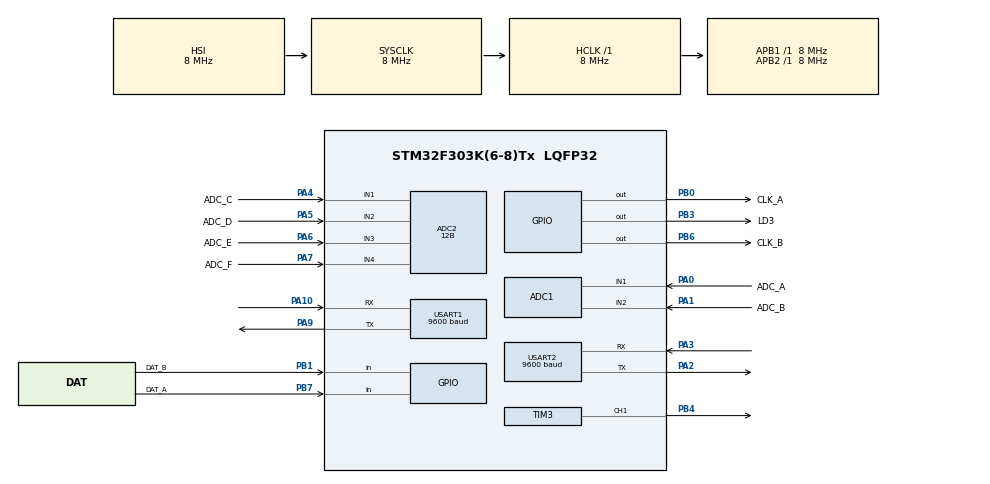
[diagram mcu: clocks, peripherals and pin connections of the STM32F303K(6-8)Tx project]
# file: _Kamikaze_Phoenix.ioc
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ADC1.Channel-0\#ChannelRegularConversion=ADC_CHANNEL_1
ADC1.NbrOfConversionFlag=1
ADC1.Offset-0\#ChannelRegularConversion=0
ADC1.OffsetNumber-0\#ChannelRegularConversion=ADC_OFFSET_NONE
ADC1.Rank-0\#ChannelRegularConversion=1
ADC1.SamplingTime-0\#ChannelRegularConversion=ADC_SAMPLETIME_1CYCLE_5
ADC1.SubFamily=STM32F303x8
ADC1.master=1
ADC2.Channel-0\#ChannelRegularConversion=ADC_CHANNEL_1
ADC2.ClockPrescaler=ADC_CLOCK_ASYNC_DIV1
ADC2.ContinuousConvMode=DISABLE
ADC2.DMAContinuousRequests=DISABLE
ADC2.DataAlign=ADC_DATAALIGN_RIGHT
ADC2.DiscontinuousConvMode=DISABLE
ADC2.EOCSelection=ADC_EOC_SINGLE_CONV
ADC2.EnableAnalogWatchDog1=false
ADC2.EnableAnalogWatchDog2=false
ADC2.EnableAnalogWatchDog3=false
ADC2.EnableInjectedConversion=ENABLE
ADC2.EnableRegularConversion=ENABLE
ADC2.ExternalTrigConv=ADC_SOFTWARE_START
ADC2.ExternalTrigConvEdge=ADC_EXTERNALTRIGCONVEDGE_NONE
ADC2.InjNumberOfConversion=0
ADC2.LowPowerAutoWait=DISABLE
ADC2.NbrOfConversion=1
ADC2.NbrOfConversionFlag=1
ADC2.Offset-0\#ChannelRegularConversion=0
ADC2.OffsetNumber-0\#ChannelRegularConversion=ADC_OFFSET_NONE
ADC2.Overrun=ADC_OVR_DATA_OVERWRITTEN
ADC2.Rank-0\#ChannelRegularConversion=1
ADC2.Resolution=ADC_RESOLUTION_12B
ADC2.SamplingTime-0\#ChannelRegularConversion=ADC_SAMPLETIME_1CYCLE_5
ADC2.ScanConvMode=ADC_SCAN_DISABLE
ADC2.SubFamily=STM32F303x8
Dma.Request0=USART1_RX
Dma.Request1=USART1_TX
Dma.Request2=USART2_RX
Dma.Request3=USART2_TX
Dma.USART1_RX.0.Direction=DMA_PERIPH_TO_MEMORY
Dma.USART1_RX.0.Instance=DMA1_Channel5
Dma.USART1_RX.0.MemDataAlignment=DMA_MDATAALIGN_BYTE
Dma.USART1_RX.0.MemInc=DMA_MINC_ENABLE
Dma.USART1_RX.0.Mode=DMA_NORMAL
Dma.USART1_RX.0.PeriphDataAlignment=DMA_PDATAALIGN_BYTE
Dma.USART1_RX.0.PeriphInc=DMA_PINC_DISABLE
Dma.USART1_RX.0.Priority=DMA_PRIORITY_MEDIUM
Dma.USART1_TX.1.Direction=DMA_MEMORY_TO_PERIPH
Dma.USART1_TX.1.Instance=DMA1_Channel4
Dma.USART1_TX.1.MemDataAlignment=DMA_MDATAALIGN_BYTE
Dma.USART1_TX.1.MemInc=DMA_MINC_ENABLE
Dma.USART1_TX.1.Mode=DMA_NORMAL
Dma.USART1_TX.1.PeriphDataAlignment=DMA_PDATAALIGN_BYTE
Dma.USART1_TX.1.PeriphInc=DMA_PINC_DISABLE
Dma.USART1_TX.1.Priority=DMA_PRIORITY_MEDIUM
Dma.USART2_RX.2.Direction=DMA_PERIPH_TO_MEMORY
Dma.USART2_RX.2.Instance=DMA1_Channel6
Dma.USART2_RX.2.MemDataAlignment=DMA_MDATAALIGN_BYTE
Dma.USART2_RX.2.MemInc=DMA_MINC_ENABLE
Dma.USART2_RX.2.Mode=DMA_NORMAL
Dma.USART2_RX.2.PeriphDataAlignment=DMA_PDATAALIGN_BYTE
Dma.USART2_RX.2.PeriphInc=DMA_PINC_DISABLE
Dma.USART2_RX.2.Priority=DMA_PRIORITY_LOW
Dma.USART2_TX.3.Direction=DMA_MEMORY_TO_PERIPH
Dma.USART2_TX.3.Instance=DMA1_Channel7
Dma.USART2_TX.3.MemDataAlignment=DMA_MDATAALIGN_BYTE
Dma.USART2_TX.3.MemInc=DMA_MINC_ENABLE
Dma.USART2_TX.3.Mode=DMA_NORMAL
Dma.USART2_TX.3.PeriphDataAlignment=DMA_PDATAALIGN_BYTE
Dma.USART2_TX.3.PeriphInc=DMA_PINC_DISABLE
Dma.USART2_TX.3.Priority=DMA_PRIORITY_LOW
Mcu.Family=STM32F3
Mcu.Name=STM32F303K(6-8)Tx
Mcu.Package=LQFP32
NVIC.ADC1_2_IRQn=true\:0\:0\:false\:true\:true\:4\:true
NVIC.DMA1_Channel4_IRQn=true\:0\:0\:false\:true\:true\:1\:false
NVIC.DMA1_Channel5_IRQn=true\:0\:0\:false\:true\:true\:2\:false
NVIC.DMA1_Channel6_IRQn=true\:0\:0\:false\:true\:true\:3\:false
NVIC.DMA1_Channel7_IRQn=true\:0\:0\:false\:true\:true\:6\:false
NVIC.PriorityGroup=NVIC_PRIORITYGROUP_4
NVIC.TIM3_IRQn=true\:0\:0\:false\:false\:true\:true
NVIC.USART1_IRQn=true\:0\:0\:false\:true\:true\:5\:true
NVIC.USART2_IRQn=true\:0\:0\:false\:false\:true\:true
PA0.GPIO_Label=ADC_A
PA0.Mode=IN1-Single-Ended
PA0.Signal=ADC1_IN1
PA1.GPIO_Label=ADC_B
PA1.Mode=IN2-Single-Ended
PA1.Signal=ADC1_IN2
PA10.Mode=Asynchronous
PA10.Signal=USART1_RX
PA2.Mode=Asynchronous
PA2.Signal=USART2_TX
PA3.Mode=Asynchronous
PA3.Signal=USART2_RX
PA4.GPIO_Label=ADC_C
PA4.Mode=IN1-Single-Ended
PA4.Signal=ADC2_IN1
PA5.GPIO_Label=ADC_D
PA5.Mode=IN2-Single-Ended
PA5.Signal=ADC2_IN2
PA6.GPIO_Label=ADC_E
PA6.Mode=IN3-Single-Ended
PA6.Signal=ADC2_IN3
PA7.GPIO_Label=ADC_F
PA7.Mode=IN4-Single-Ended
PA7.Signal=ADC2_IN4
PA9.Mode=Asynchronous
PA9.Signal=USART1_TX
PB0.GPIO_Label=CLK_A
PB0.Signal=GPIO_Output
PB1.GPIO_Label=DAT_B
PB1.Signal=GPIO_Input
PB3.GPIO_Label=LD3
PB3.Signal=GPIO_Output
PB4.Signal=S_TIM3_CH1
PB6.GPIO_FM6=SYSCFG_CFGR1_I2C_PB6_FMP
PB6.GPIO_Label=CLK_B
PB6.Signal=GPIO_Output
PB7.GPIO_Label=DAT_A
PB7.Signal=GPIO_Input
PF0\ /\ OSC_IN.Mode=HSE-External-Oscillator
PF0\ /\ OSC_IN.Signal=RCC_OSC_IN
PF1\ /\ OSC_OUT.Mode=HSE-External-Oscillator
PF1\ /\ OSC_OUT.Signal=RCC_OSC_OUT
ProjectManager.HeapSize=0x200
ProjectManager.StackSize=0x400
ProjectManager.TargetToolchain=TrueSTUDIO
RCC.AHBFreq_Value=8000000
RCC.APB1Freq_Value=8000000
RCC.APB2Freq_Value=8000000
RCC.CortexFreq_Value=8000000
RCC.HSE_VALUE=8000000
RCC.HSI_VALUE=8000000
RCC.PLLMUL=RCC_PLL_MUL4
RCC.SYSCLKFreq_VALUE=8000000
SH.S_TIM3_CH1.0=TIM3_CH1,PWM Generation1 CH1
TIM3.Channel-PWM\ Generation1\ CH1=TIM_CHANNEL_1
TIM3.Period=100
TIM3.Prescaler=72
USART1.BaudRate=9600
USART1.VirtualMode-Asynchronous=VM_ASYNC
USART1.WordLength=WORDLENGTH_8B
USART2.BaudRate=9600
USART2.VirtualMode-Asynchronous=VM_ASYNC
USART2.WordLength=WORDLENGTH_8B
VP_TIM3_VS_ClockSourceINT.Mode=Internal
board=_Kamikaze_Phoenix

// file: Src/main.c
/**
 ******************************************************************************
 * @file           : main.c
 * @brief          : Main program body
 ******************************************************************************
 ** This notice applies to any and all portions of this file
 * that are not between comment pairs USER CODE BEGIN and
 * USER CODE END. Other portions of this file, whether
 * inserted by the user or by software development tools
 * are owned by their respective copyright owners.
 *
 * COPYRIGHT(c) 2018 STMicroelectronics
 *
 * Redistribution and use in source and binary forms, with or without modification,
 * are permitted provided that the following conditions are met:
 *   1. Redistributions of source code must retain the above copyright notice,
 *      this list of conditions and the following disclaimer.
 *   2. Redistributions in binary form must reproduce the above copyright notice,
 *      this list of conditions and the following disclaimer in the documentation
 *      and/or other materials provided with the distribution.
 *   3. Neither the name of STMicroelectronics nor the names of its contributors
 *      may be used to endorse or promote products derived from this software
 *      without specific prior written permission.
 *
 * THIS SOFTWARE IS PROVIDED BY THE COPYRIGHT HOLDERS AND CONTRIBUTORS "AS IS"
 * AND ANY EXPRESS OR IMPLIED WARRANTIES, INCLUDING, BUT NOT LIMITED TO, THE
 * IMPLIED WARRANTIES OF MERCHANTABILITY AND FITNESS FOR A PARTICULAR PURPOSE ARE
 * DISCLAIMED. IN NO EVENT SHALL THE COPYRIGHT HOLDER OR CONTRIBUTORS BE LIABLE
 * FOR ANY DIRECT, INDIRECT, INCIDENTAL, SPECIAL, EXEMPLARY, OR CONSEQUENTIAL
 * DAMAGES (INCLUDING, BUT NOT LIMITED TO, PROCUREMENT OF SUBSTITUTE GOODS OR
 * SERVICES; LOSS OF USE, DATA, OR PROFITS; OR BUSINESS INTERRUPTION) HOWEVER
 * CAUSED AND ON ANY THEORY OF LIABILITY, WHETHER IN CONTRACT, STRICT LIABILITY,
 * OR TORT (INCLUDING NEGLIGENCE OR OTHERWISE) ARISING IN ANY WAY OUT OF THE USE
 * OF THIS SOFTWARE, EVEN IF ADVISED OF THE POSSIBILITY OF SUCH DAMAGE.
 *
 ******************************************************************************
 */
#include "main.h"
#include "stm32f3xx_hal.h"

ADC_HandleTypeDef hadc1;
ADC_HandleTypeDef hadc2;

TIM_HandleTypeDef htim3;

UART_HandleTypeDef huart1;
UART_HandleTypeDef huart2;
DMA_HandleTypeDef hdma_usart1_rx;
DMA_HandleTypeDef hdma_usart1_tx;
DMA_HandleTypeDef hdma_usart2_rx;
DMA_HandleTypeDef hdma_usart2_tx;

/* USER CODE BEGIN PV */
/* Private variables ---------------------------------------------------------*/

struct MSG;
struct CBUFF;
struct PARAMETERS;

CBUFF* cbuff = 0;
PARAMETERS* par = 0;

#define PIN_HI			1
#define PIN_LO			0
#define LSB				0
#define MSB				1
#define VERBOSE	TRUE

#define  PWM_PERIOD       (uint32_t)(40000 - 1)  /* Period Value  */

#define DAT_A_READ 		HAL_GPIO_ReadPin(DAT_A_GPIO_Port, DAT_A_Pin)
#define DAT_B_READ 		HAL_GPIO_ReadPin(DAT_B_GPIO_Port, DAT_B_Pin)
#define CLK_A_SET		HAL_GPIO_WritePin(CLK_A_GPIO_Port, CLK_A_Pin, GPIO_PIN_SET)
#define CLK_A_RESET		HAL_GPIO_WritePin(CLK_A_GPIO_Port, CLK_A_Pin, GPIO_PIN_RESET)
#define CLK_B_SET		HAL_GPIO_WritePin(CLK_B_GPIO_Port, CLK_B_Pin, GPIO_PIN_SET)
#define CLK_B_RESET		HAL_GPIO_WritePin(CLK_B_GPIO_Port, CLK_B_Pin, GPIO_PIN_RESET)
#define LED3_ON			HAL_GPIO_WritePin(LD3_GPIO_Port, LD3_Pin, GPIO_PIN_SET)
#define LED3_OFF		HAL_GPIO_WritePin(LD3_GPIO_Port, LD3_Pin, GPIO_PIN_RESET)
#define SERVO_HI		HAL_GPIO_WritePin(Servo_GPIO_Port, Servo_Pin, GPIO_PIN_SET)
#define SERVO_LO		HAL_GPIO_WritePin(Servo_GPIO_Port, Servo_Pin, GPIO_PIN_RESET)

uint8_t buffer[B_SIZE];
uint8_t empty_buffer[B_SIZE];

uint8_t RX_B1[B_SIZE];
uint8_t RX_B2[B_SIZE];
uint8_t TX_B1[B_SIZE];
uint8_t TX_B2[B_SIZE];

char TX_T[B_SIZE];
char TX_A[B_SIZE];

uint8_t RX_buffer1[B_SIZE];
uint8_t RX_buffer2[B_SIZE];
uint8_t TX_buffer1[B_SIZE];
uint8_t TX_buffer2[B_SIZE];
uint8_t ADC_buffer[B_SIZE];
uint16_t len = sizeof(buffer), i, j, hmmmm;
int trans_delay = 75;
int ticker = 0;

unsigned long Count;

#define POT_MODE			0
#define CLOCK_WISE			0
#define COUNTER_CLOCK_WISE	1
#define PIN_LO			0
volatile int DC = 50;
volatile int DIR = CLOCK_WISE;
volatile int SERVO_PULSE_WIDTH = 1;
volatile uint16_t HILO_COUNT = 0;
volatile uint16_t HI_PERIOD = 1;
volatile uint16_t LO_PERIOD = 1;
volatile uint16_t HI_LO = PIN_HI;
#define ms_SCALER			44

// EPOCHS
int epoch_LED = 0;
int epoch_TX = 0;
int epoch_ERROR = 0;
int epoch_INIT = 0;

volatile uint32_t a;
volatile uint32_t ADC_A_Value;
volatile uint32_t ADC_B_Value;
volatile uint32_t ADC_C_Value;
volatile uint32_t ADC_D_Value;
volatile uint32_t ADC_E_Value;
volatile uint32_t ADC_F_Value;

ADC_ChannelConfTypeDef sConfig_A;
ADC_ChannelConfTypeDef sConfig_B;
ADC_ChannelConfTypeDef sConfig_C;
ADC_ChannelConfTypeDef sConfig_D;
ADC_ChannelConfTypeDef sConfig_E;
ADC_ChannelConfTypeDef sConfig_F;

char* errorMsg = 0;

/* USER CODE END PV */

void SystemClock_Config(void);
static void MX_GPIO_Init(void);
static void MX_DMA_Init(void);
static void MX_USART1_UART_Init(void);
static void MX_USART2_UART_Init(void);
static void MX_ADC2_Init(void);
static void MX_ADC1_Init(void);
static void MX_TIM3_Init(void);
static void MX_NVIC_Init(void);

void HAL_TIM_MspPostInit(TIM_HandleTypeDef *htim);

/* USER CODE BEGIN PFP */
/* Private function prototypes -----------------------------------------------*/
void Update_ADC_Values(void);
void read_HX711(void);
void HAL_Delay_Microseconds(__IO uint32_t);
int isTransmitting(UART_HandleTypeDef *, UART_HandleTypeDef *);
int strip_str(uint8_t[], uint8_t[]);
int channelBusy(UART_HandleTypeDef *);
void Update_PWM(uint16_t);
void set_pulse_width(void);
int get_error(void);

/* USER CODE END PFP */

int main(void) {
	/* USER CODE BEGIN 1 */
	memset(RX_B1, 0, len);
	memset(RX_B2, 0, len);
	memset(TX_B1, 0, len);
	memset(TX_B2, 0, len);
	/* USER CODE END 1 */

	/* MCU Configuration----------------------------------------------------------*/

	/* Reset of all peripherals, Initializes the Flash interface and the Systick. */
	HAL_Init();

	/* Configure the system clock */
	SystemClock_Config();

	/* Initialize all configured peripherals */
	MX_GPIO_Init();
	MX_DMA_Init();
	MX_USART1_UART_Init();
	MX_USART2_UART_Init();
	MX_ADC2_Init();
	MX_ADC1_Init();
	MX_TIM3_Init();

	/* Initialize interrupts */
	MX_NVIC_Init();
	/* USER CODE BEGIN 2 */

	memset(empty_buffer, 0, len);

	if (HAL_ADC_ConfigChannel(&hadc2, &sConfig_C) != HAL_OK) {
		_Error_Handler(__FILE__, __LINE__);
	}

	cbuff = circ_buff_init();

	/* USER CODE END 2 */

	/* Infinite loop */
	/* USER CODE BEGIN WHILE */
	/* USER CODE BEGIN WHILE */

	MSG* msg = 0;
	msg = (MSG*) malloc(sizeof(MSG));
	msg->type = 0;
	msg->ID = 0;
	msg->sign = 0;
	msg->value = 0;
	msg->complete = 0;

	MSG* msgT = 0;
	msgT = (MSG*) malloc(sizeof(MSG));
	msgT->type = 0;
	msgT->ID = 0;
	msgT->sign = 0;
	msgT->value = 0;
	msgT->complete = 0;

	MSG* msgA = 0;
	msgA = (MSG*) malloc(sizeof(MSG));
	msgA->type = 0;
	msgA->ID = 0;
	msgA->sign = 0;
	msgA->value = 0;
	msgA->complete = 0;

	memset(TX_buffer2, '&', B_SIZE);
	TX_buffer2[B_SIZE - 2] = '\n';
	TX_buffer2[B_SIZE - 1] = '\r';

	memset(TX_B1, 0, B_SIZE);
	sprintf((char*) TX_B1,
			"\n\r\n\r/* BOOT COMPLETE -> INITIALISING [%d] */\n\r\n\r",
			getEGO());
	while (isTransmitting(&huart1, &huart2))
		;
	HAL_UART_Transmit_DMA(&huart1, TX_B1, B_SIZE);
	HAL_UART_Transmit_DMA(&huart2, TX_B1, B_SIZE);

	msgERROR_init();
	epoch_INIT = HAL_GetTick();

	int adc_compare = 1;

	int DEMAND, delta;
	par = parameters_init();
	int k = 25;
	volatile int angle = 0;

	if (HAL_TIM_PWM_Start(&htim3, TIM_CHANNEL_1) != HAL_OK) {
		/* PWM Generation Error */
		Error_Handler();
	}

	DC = 0;

	while (1) {

		/* USER CODE END WHILE */

		/* USER CODE BEGIN 3 */
		/* Update PWM width */
		Update_ADC_Values();
		delta = (-ADC_D_Value + ADC_C_Value);
		if (delta > 0) {
			angle = 5;
		} else {
			angle = -5;
		}
		angle = delta / 10;
		set_p(par, delta);
		update_control(par);
		delta = get_T_target(par);
		DC = DC + delta;
		set_pulse_width();

		//DEMAND = (DC > 0) ? (DC * 100 / 4096) : (-DC * 100 / 4096);

		/* Toggle LED */
		if (HAL_GetTick() > (epoch_LED + D_LED)) {

			HAL_GPIO_TogglePin(LD3_GPIO_Port, LD3_Pin);
			epoch_LED = HAL_GetTick();

			while (isTransmitting(&huart1, &huart2))
				;
			memset(TX_B1, 0, B_SIZE);
			sprintf(TX_B1,
					"C|%lu|\tD|%lu|\tdir|%lu|\tHI|%lu|\tPW|%lu|\tDC|%d|\tE|%d|\tDEMAND|%d|\n\r",
					(unsigned long) ADC_C_Value, (unsigned long) ADC_D_Value,
					DIR, HI_PERIOD, (HI_PERIOD / 2), DC, get_error(), delta);
			HAL_UART_Transmit_DMA(&huart1, TX_B1, B_SIZE);
			HAL_UART_Transmit_DMA(&huart2, TX_B1, B_SIZE);

		}

	}
	free(msg);
	free(msgT);
	free(msgA);
	free(par);
	free(cbuff);
	/* USER CODE END 3 */

}

void SystemClock_Config(void) {

	RCC_OscInitTypeDef RCC_OscInitStruct;
	RCC_ClkInitTypeDef RCC_ClkInitStruct;
	RCC_PeriphCLKInitTypeDef PeriphClkInit;

	/**Initializes the CPU, AHB and APB busses clocks
	 */
	RCC_OscInitStruct.OscillatorType = RCC_OSCILLATORTYPE_HSI;
	RCC_OscInitStruct.HSIState = RCC_HSI_ON;
	RCC_OscInitStruct.HSICalibrationValue = 16;
	RCC_OscInitStruct.PLL.PLLState = RCC_PLL_ON;
	RCC_OscInitStruct.PLL.PLLSource = RCC_PLLSOURCE_HSI;
	RCC_OscInitStruct.PLL.PLLMUL = RCC_PLL_MUL4;
	if (HAL_RCC_OscConfig(&RCC_OscInitStruct) != HAL_OK) {
		_Error_Handler(__FILE__, __LINE__);
	}

	/**Initializes the CPU, AHB and APB busses clocks
	 */
	RCC_ClkInitStruct.ClockType = RCC_CLOCKTYPE_HCLK | RCC_CLOCKTYPE_SYSCLK
			| RCC_CLOCKTYPE_PCLK1 | RCC_CLOCKTYPE_PCLK2;
	RCC_ClkInitStruct.SYSCLKSource = RCC_SYSCLKSOURCE_HSI;
	RCC_ClkInitStruct.AHBCLKDivider = RCC_SYSCLK_DIV1;
	RCC_ClkInitStruct.APB1CLKDivider = RCC_HCLK_DIV1;
	RCC_ClkInitStruct.APB2CLKDivider = RCC_HCLK_DIV1;

	if (HAL_RCC_ClockConfig(&RCC_ClkInitStruct, FLASH_LATENCY_0) != HAL_OK) {
		_Error_Handler(__FILE__, __LINE__);
	}

	PeriphClkInit.PeriphClockSelection = RCC_PERIPHCLK_USART1
			| RCC_PERIPHCLK_ADC12;
	PeriphClkInit.Usart1ClockSelection = RCC_USART1CLKSOURCE_PCLK1;
	PeriphClkInit.Adc12ClockSelection = RCC_ADC12PLLCLK_DIV1;
	if (HAL_RCCEx_PeriphCLKConfig(&PeriphClkInit) != HAL_OK) {
		_Error_Handler(__FILE__, __LINE__);
	}

	/**Configure the Systick interrupt time
	 */
	HAL_SYSTICK_Config(HAL_RCC_GetHCLKFreq() / 1000);

	/**Configure the Systick
	 */
	HAL_SYSTICK_CLKSourceConfig(SYSTICK_CLKSOURCE_HCLK);

	/* SysTick_IRQn interrupt configuration */
	HAL_NVIC_SetPriority(SysTick_IRQn, 0, 0);
}

/**
 * @brief NVIC Configuration.
 * @retval None
 */
static void MX_NVIC_Init(void) {
	/* DMA1_Channel4_IRQn interrupt configuration */
	HAL_NVIC_SetPriority(DMA1_Channel4_IRQn, 0, 0);
	HAL_NVIC_EnableIRQ(DMA1_Channel4_IRQn);
	/* DMA1_Channel5_IRQn interrupt configuration */
	HAL_NVIC_SetPriority(DMA1_Channel5_IRQn, 0, 0);
	HAL_NVIC_EnableIRQ(DMA1_Channel5_IRQn);
	/* DMA1_Channel6_IRQn interrupt configuration */
	HAL_NVIC_SetPriority(DMA1_Channel6_IRQn, 0, 0);
	HAL_NVIC_EnableIRQ(DMA1_Channel6_IRQn);
	/* ADC1_2_IRQn interrupt configuration */
	HAL_NVIC_SetPriority(ADC1_2_IRQn, 0, 0);
	HAL_NVIC_EnableIRQ(ADC1_2_IRQn);
	/* USART1_IRQn interrupt configuration */
	HAL_NVIC_SetPriority(USART1_IRQn, 0, 0);
	HAL_NVIC_EnableIRQ(USART1_IRQn);
	/* DMA1_Channel7_IRQn interrupt configuration */
	HAL_NVIC_SetPriority(DMA1_Channel7_IRQn, 0, 0);
	HAL_NVIC_EnableIRQ(DMA1_Channel7_IRQn);
}

/* ADC1 init function */
static void MX_ADC1_Init(void) {

	ADC_MultiModeTypeDef multimode;
	ADC_ChannelConfTypeDef sConfig;

	/**Common config
	 */
	hadc1.Instance = ADC1;
	hadc1.Init.ClockPrescaler = ADC_CLOCK_ASYNC_DIV1;
	hadc1.Init.Resolution = ADC_RESOLUTION_12B;
	hadc1.Init.ScanConvMode = ADC_SCAN_DISABLE;
	hadc1.Init.ContinuousConvMode = DISABLE;
	hadc1.Init.DiscontinuousConvMode = DISABLE;
	hadc1.Init.ExternalTrigConvEdge = ADC_EXTERNALTRIGCONVEDGE_NONE;
	hadc1.Init.ExternalTrigConv = ADC_SOFTWARE_START;
	hadc1.Init.DataAlign = ADC_DATAALIGN_RIGHT;
	hadc1.Init.NbrOfConversion = 1;
	hadc1.Init.DMAContinuousRequests = DISABLE;
	hadc1.Init.EOCSelection = ADC_EOC_SINGLE_CONV;
	hadc1.Init.LowPowerAutoWait = DISABLE;
	hadc1.Init.Overrun = ADC_OVR_DATA_OVERWRITTEN;
	if (HAL_ADC_Init(&hadc1) != HAL_OK) {
		_Error_Handler(__FILE__, __LINE__);
	}

	/**Configure the ADC multi-mode
	 */
	multimode.Mode = ADC_MODE_INDEPENDENT;
	if (HAL_ADCEx_MultiModeConfigChannel(&hadc1, &multimode) != HAL_OK) {
		_Error_Handler(__FILE__, __LINE__);
	}

	/**Configure Regular Channel
	 */
	sConfig.Channel = ADC_CHANNEL_1;
	sConfig.Rank = ADC_REGULAR_RANK_1;
	sConfig.SingleDiff = ADC_SINGLE_ENDED;
	sConfig.SamplingTime = ADC_SAMPLETIME_1CYCLE_5;
	sConfig.OffsetNumber = ADC_OFFSET_NONE;
	sConfig.Offset = 0;
	if (HAL_ADC_ConfigChannel(&hadc1, &sConfig) != HAL_OK) {
		_Error_Handler(__FILE__, __LINE__);
	}

}

/* ADC2 init function */
static void MX_ADC2_Init(void) {

	ADC_ChannelConfTypeDef sConfig;

	/**Common config
	 */
	hadc2.Instance = ADC2;
	hadc2.Init.ClockPrescaler = ADC_CLOCK_ASYNC_DIV1;
	hadc2.Init.Resolution = ADC_RESOLUTION_12B;
	hadc2.Init.ScanConvMode = ADC_SCAN_DISABLE;
	hadc2.Init.ContinuousConvMode = DISABLE;
	hadc2.Init.DiscontinuousConvMode = DISABLE;
	hadc2.Init.ExternalTrigConvEdge = ADC_EXTERNALTRIGCONVEDGE_NONE;
	hadc2.Init.ExternalTrigConv = ADC_SOFTWARE_START;
	hadc2.Init.DataAlign = ADC_DATAALIGN_RIGHT;
	hadc2.Init.NbrOfConversion = 1;
	hadc2.Init.DMAContinuousRequests = DISABLE;
	hadc2.Init.EOCSelection = ADC_EOC_SINGLE_CONV;
	hadc2.Init.LowPowerAutoWait = DISABLE;
	hadc2.Init.Overrun = ADC_OVR_DATA_OVERWRITTEN;
	if (HAL_ADC_Init(&hadc2) != HAL_OK) {
		_Error_Handler(__FILE__, __LINE__);
	}

	/**Configure Regular Channel
	 */
	sConfig_C.Channel = ADC_CHANNEL_1;
	sConfig_C.Rank = ADC_REGULAR_RANK_1;
	sConfig_C.SingleDiff = ADC_SINGLE_ENDED;
	sConfig_C.SamplingTime = ADC_SAMPLETIME_1CYCLE_5;
	sConfig_C.OffsetNumber = ADC_OFFSET_NONE;
	sConfig_C.Offset = 0;
	if (HAL_ADC_ConfigChannel(&hadc2, &sConfig_C) != HAL_OK) {
		_Error_Handler(__FILE__, __LINE__);
	}

	sConfig_D.Channel = ADC_CHANNEL_2;
	sConfig_D.Rank = ADC_REGULAR_RANK_1;
	sConfig_D.SingleDiff = ADC_SINGLE_ENDED;
	sConfig_D.SamplingTime = ADC_SAMPLETIME_1CYCLE_5;
	sConfig_D.OffsetNumber = ADC_OFFSET_NONE;
	sConfig_D.Offset = 0;
	if (HAL_ADC_ConfigChannel(&hadc2, &sConfig_D) != HAL_OK) {
		_Error_Handler(__FILE__, __LINE__);
	}

	sConfig_E.Channel = ADC_CHANNEL_3;
	sConfig_E.Rank = ADC_REGULAR_RANK_1;
	sConfig_E.SingleDiff = ADC_SINGLE_ENDED;
	sConfig_E.SamplingTime = ADC_SAMPLETIME_1CYCLE_5;
	sConfig_E.OffsetNumber = ADC_OFFSET_NONE;
	sConfig_E.Offset = 0;
	if (HAL_ADC_ConfigChannel(&hadc2, &sConfig_E) != HAL_OK) {
		_Error_Handler(__FILE__, __LINE__);
	}

	sConfig_F.Channel = ADC_CHANNEL_4;
	sConfig_F.Rank = ADC_REGULAR_RANK_1;
	sConfig_F.SingleDiff = ADC_SINGLE_ENDED;
	sConfig_F.SamplingTime = ADC_SAMPLETIME_1CYCLE_5;
	sConfig_F.OffsetNumber = ADC_OFFSET_NONE;
	sConfig_F.Offset = 0;
	if (HAL_ADC_ConfigChannel(&hadc2, &sConfig_F) != HAL_OK) {
		_Error_Handler(__FILE__, __LINE__);
	}

}

/* TIM3 init function */
static void MX_TIM3_Init(void) {
	/* Counter Prescaler value */
	uint32_t uhPrescalerValue = 0;

	/* Compute the prescaler value to have TIM3 counter clock equal to 1000000 Hz */
	uhPrescalerValue = (uint32_t) ((SystemCoreClock / 2) / 1000000) - 1;

	TIM_ClockConfigTypeDef sClockSourceConfig;
	TIM_MasterConfigTypeDef sMasterConfig;
	TIM_OC_InitTypeDef sConfigOC;

	htim3.Instance = TIM3;
	htim3.Init.Prescaler = uhPrescalerValue;
	printf("Prescaler Value: %lu\r\n", uhPrescalerValue);
	htim3.Init.Period = PWM_PERIOD;
	printf("Period Value: %lu\r\n", PWM_PERIOD);
	htim3.Init.ClockDivision = 0;
	htim3.Init.CounterMode = TIM_COUNTERMODE_UP;
	htim3.Init.RepetitionCounter = 0;
	htim3.Init.AutoReloadPreload = TIM_AUTORELOAD_PRELOAD_DISABLE;
	if (HAL_TIM_Base_Init(&htim3) != HAL_OK) {
		printf("HAL_TIM_Base_Init failed.");
		_Error_Handler(__FILE__, __LINE__);
	}

	sClockSourceConfig.ClockSource = TIM_CLOCKSOURCE_INTERNAL;
	if (HAL_TIM_ConfigClockSource(&htim3, &sClockSourceConfig) != HAL_OK) {
		_Error_Handler(__FILE__, __LINE__);
	}

	if (HAL_TIM_PWM_Init(&htim3) != HAL_OK) {
		_Error_Handler(__FILE__, __LINE__);
	}

	sMasterConfig.MasterOutputTrigger = TIM_TRGO_RESET;
	sMasterConfig.MasterSlaveMode = TIM_MASTERSLAVEMODE_DISABLE;
	if (HAL_TIMEx_MasterConfigSynchronization(&htim3, &sMasterConfig)
			!= HAL_OK) {
		_Error_Handler(__FILE__, __LINE__);
	}

	// sConfigOC.Pulse = 0;
	sConfigOC.OCMode = TIM_OCMODE_PWM1;
	sConfigOC.OCPolarity = TIM_OCPOLARITY_HIGH;
	sConfigOC.OCFastMode = TIM_OCFAST_DISABLE;
	sConfigOC.OCNPolarity = TIM_OCNPOLARITY_HIGH;
	sConfigOC.OCNIdleState = TIM_OCNIDLESTATE_RESET;

	sConfigOC.Pulse = (uint32_t) (PWM_PERIOD / 2);
	if (HAL_TIM_PWM_ConfigChannel(&htim3, &sConfigOC, TIM_CHANNEL_1)
			!= HAL_OK) {
		/* Configuration Error */
		Error_Handler();
	}

	HAL_TIM_MspPostInit(&htim3);

}

/* USART1 init function */
static void MX_USART1_UART_Init(void) {

	huart1.Instance = USART1;
	huart1.Init.BaudRate = 9600;
	huart1.Init.WordLength = UART_WORDLENGTH_8B;
	huart1.Init.StopBits = UART_STOPBITS_1;
	huart1.Init.Parity = UART_PARITY_NONE;
	huart1.Init.Mode = UART_MODE_TX_RX;
	huart1.Init.HwFlowCtl = UART_HWCONTROL_NONE;
	huart1.Init.OverSampling = UART_OVERSAMPLING_16;
	huart1.Init.OneBitSampling = UART_ONE_BIT_SAMPLE_DISABLE;
	huart1.AdvancedInit.AdvFeatureInit = UART_ADVFEATURE_NO_INIT;
	if (HAL_UART_Init(&huart1) != HAL_OK) {
		_Error_Handler(__FILE__, __LINE__);
	}

}

/* USART2 init function */
static void MX_USART2_UART_Init(void) {

	huart2.Instance = USART2;
	huart2.Init.BaudRate = 9600;
	huart2.Init.WordLength = UART_WORDLENGTH_8B;
	huart2.Init.StopBits = UART_STOPBITS_1;
	huart2.Init.Parity = UART_PARITY_NONE;
	huart2.Init.Mode = UART_MODE_TX_RX;
	huart2.Init.HwFlowCtl = UART_HWCONTROL_NONE;
	huart2.Init.OverSampling = UART_OVERSAMPLING_16;
	huart2.Init.OneBitSampling = UART_ONE_BIT_SAMPLE_DISABLE;
	huart2.AdvancedInit.AdvFeatureInit = UART_ADVFEATURE_NO_INIT;
	if (HAL_UART_Init(&huart2) != HAL_OK) {
		_Error_Handler(__FILE__, __LINE__);
	}

}

static void MX_DMA_Init(void) {
	/* DMA controller clock enable */
	__HAL_RCC_DMA1_CLK_ENABLE()
	;

}

/** Configure pins as
 * Analog
 * Input
 * Output
 * EVENT_OUT
 * EXTI
 */
static void MX_GPIO_Init(void) {

	GPIO_InitTypeDef GPIO_InitStruct;

	/* GPIO Ports Clock Enable */
	__HAL_RCC_GPIOF_CLK_ENABLE()
	;
	__HAL_RCC_GPIOA_CLK_ENABLE()
	;
	__HAL_RCC_GPIOB_CLK_ENABLE()
	;

	/*Configure GPIO pin Output Level */
	HAL_GPIO_WritePin(GPIOB, CLK_A_Pin | LD3_Pin | CLK_B_Pin, GPIO_PIN_RESET);

	/*Configure GPIO pins : CLK_A_Pin LD3_Pin CLK_B_Pin */
	GPIO_InitStruct.Pin = CLK_A_Pin | LD3_Pin | CLK_B_Pin;
	GPIO_InitStruct.Mode = GPIO_MODE_OUTPUT_PP;
	GPIO_InitStruct.Pull = GPIO_NOPULL;
	GPIO_InitStruct.Speed = GPIO_SPEED_FREQ_LOW;
	HAL_GPIO_Init(GPIOB, &GPIO_InitStruct);

	/*Configure GPIO pins : DAT_B_Pin DAT_A_Pin */
	GPIO_InitStruct.Pin = DAT_B_Pin | DAT_A_Pin;
	GPIO_InitStruct.Mode = GPIO_MODE_INPUT;
	GPIO_InitStruct.Pull = GPIO_NOPULL;
	HAL_GPIO_Init(GPIOB, &GPIO_InitStruct);

	/**/
	HAL_I2CEx_EnableFastModePlus(SYSCFG_CFGR1_I2C_PB6_FMP);

}

/* USER CODE BEGIN 4 */

void Update_ADC_Values(void) {
	int x = 2;
	/* Read ADC_C
	 * ADC C = PA4 = A3 = ADC2 Channel 1 */
	if (HAL_ADC_ConfigChannel(&hadc2, &sConfig_C) != HAL_OK) {
		Error_Handler();
	}
	if (HAL_ADC_Start(&hadc2) != HAL_OK) {
		Error_Handler();
	}
	if (HAL_ADC_PollForConversion(&hadc2, 1) == HAL_OK) {
		ADC_C_Value = HAL_ADC_GetValue(&hadc2);
	}
	if (HAL_ADC_Stop(&hadc2) != HAL_OK) {
		Error_Handler();
	}

	HAL_Delay(x);
	/* Read ADC_D
	 * ADC D = PA5 = A4 = ADC2 Channel 2 */
	if (HAL_ADC_ConfigChannel(&hadc2, &sConfig_D) != HAL_OK) {
		Error_Handler();
	}
	if (HAL_ADC_Start(&hadc2) != HAL_OK) {
		Error_Handler();
	}
	if (HAL_ADC_PollForConversion(&hadc2, 1) == HAL_OK) {
		ADC_D_Value = HAL_ADC_GetValue(&hadc2);
	}
	if (HAL_ADC_Stop(&hadc2) != HAL_OK) {
		Error_Handler();
	}
	HAL_Delay(x);

	/* Read ADC_E
	 * ADC E = PA6 = A5 = ADC2 Channel 3 */
	if (HAL_ADC_ConfigChannel(&hadc2, &sConfig_E) != HAL_OK) {
		Error_Handler();
	}
	if (HAL_ADC_Start(&hadc2) != HAL_OK) {
		Error_Handler();
	}
	if (HAL_ADC_PollForConversion(&hadc2, 1) == HAL_OK) {
		ADC_E_Value = HAL_ADC_GetValue(&hadc2);
	}
	if (HAL_ADC_Stop(&hadc2) != HAL_OK) {
		Error_Handler();
	}
	HAL_Delay(x);

	/* Read ADC_F
	 * ADC F = PA7 = A6 = ADC2 Channel 4 */
	if (HAL_ADC_ConfigChannel(&hadc2, &sConfig_F) != HAL_OK) {
		Error_Handler();
	}
	if (HAL_ADC_Start(&hadc2) != HAL_OK) {
		Error_Handler();
	}
	if (HAL_ADC_PollForConversion(&hadc2, 1) == HAL_OK) {
		ADC_F_Value = HAL_ADC_GetValue(&hadc2);
	}
	if (HAL_ADC_Stop(&hadc2) != HAL_OK) {
		Error_Handler();
	}
	HAL_Delay(x);

	return;
}

int get_error(void) {
	return (2048 + ((ADC_C_Value - ADC_D_Value) / 2));
}

int emptyRX(uint8_t RX_buffer[]) {
	int i = 0;
	for (i = 0; i < (B_SIZE - 2); i++) {
		if (RX_buffer[i] != 0) {
			return 1;
		}
	}
	return 0;

}

int strip_str(uint8_t RX_buffer[], uint8_t TX_buffer[]) {
	int i = 0;
	int index = 0;
	for (i = 0; i < (B_SIZE); i++) {
		if (RX_buffer[i] != 0) {
			TX_buffer[index] = RX_buffer[i];
			index++;
		}
	}
	return index;
}

void set_pulse_width(void) {
	DC = (DC > 4096) ? 4096 : DC;
	DC = (DC < 0) ? 0 : DC;

	int DutyCycle = (DC < 0) ? -DC : DC; // ensure always positive
	DutyCycle = 4096 - DutyCycle;
	int max = 2500, min = 700;

	//max = 1500 + 400;
	//min = 1500 - 400;
	int servoMotor = 1, DCMotor;
	DCMotor = (servoMotor + 1) % 2;

	if (DCMotor) {
		if (DC < 2048) {
			DC = DC * 2;
			DC = 4096 - DC;
		} else {
			DC = DC * 2;
			DC = DC - 4096;
		}

		HI_PERIOD = 4.8828 * DC;
		HI_PERIOD = 2 * HI_PERIOD;

		DIR = (DC > 2048) ? CLOCK_WISE : COUNTER_CLOCK_WISE;
		if (DIR == COUNTER_CLOCK_WISE) {
			CLK_A_RESET;
			CLK_B_SET;
		} else {

			CLK_A_SET;
			CLK_B_RESET;
		}
	}

	if (servoMotor) {
		HI_PERIOD = (((max - min) * DutyCycle / 4096.0)) + min;
		HI_PERIOD = 2 * HI_PERIOD;

	}

	int zero = 0;

	if (zero) {
		HI_PERIOD = 2000 * (2.3);
	}

	__HAL_TIM_SET_COMPARE(&htim3, TIM_CHANNEL_1, HI_PERIOD);
}

int isTransmitting(UART_HandleTypeDef *huart1, UART_HandleTypeDef *huart2) {
	return ((huart1->gState != HAL_UART_STATE_READY)
			|| (huart2->gState != HAL_UART_STATE_READY)) ? 1 : 0;
}

void read_HX711(void) {
	/* Adapted from Arduino Script "ShiftIn()" */
// Count should always be 24
// order is MSB for HX711
	Count = 0;
	LED3_ON;
	while (DAT_A_READ) {
		;
	}

	for (uint8_t i = 0; i < 24; i++) {
		CLK_A_SET;
		Count = Count << 1;
		DAT_A_READ ? Count++ : 0; // if High
		CLK_A_RESET;
	}

	for (i = 0; i < 3; i++) {
		CLK_A_SET;
		CLK_A_RESET;
	}

	ADC_A_Value = Count ^ 0x800000;
	CLK_A_RESET;
	LED3_OFF;
	return;
}

void transmit(int channel, char* buffer) {
	UART_HandleTypeDef c;

	if (channel == 1) {
		c = huart1;
	} else {
		c = huart2;
	}
	while (isTransmitting(&huart1, &huart2))
		;
	HAL_UART_Transmit_DMA(&c, (uint8_t*) buffer, len);

	while (isTransmitting(&huart1, &huart2))
		;
	return;
}

void msgERROR_init(void) {
	errorMsg = (char*) malloc(sizeof(char) * errorMsgSize);
	return;
}

/**
 * @brief  Send out an error message if an incoming message is incorrect
 */
void msgERROR(int e, uint8_t c) {
	memset(errorMsg, 0, errorMsgSize);

	switch (e) {
	case BAD_TYPE:
		sprintf(errorMsg, "\n\rBAD_TYPE|%c|%d|\n\r", c, c);
		break;
	case BAD_ID:
		sprintf(errorMsg, "\n\rBAD_ID|%c|%d|\n\r", c, c);
		break;
	case BAD_SIGN:
		sprintf(errorMsg, "\n\rBAD_SIGN|%c|%d|\n\r", c, c);
		break;
	case BAD_LHS:
		sprintf(errorMsg, "\n\rBAD_LHS|%c|%d|\n\r", c, c);
		break;
	case BAD_DOT:
		sprintf(errorMsg, "\n\rBAD_DOT|%c|%d|\n\r", c, c);
		break;
	case BAD_RHS:
		sprintf(errorMsg, "\n\rBAD_RHS|%c|%d|\n\r", c, c);
		break;
	case BAD_COLON:
		sprintf(errorMsg, "\n\rBAD_COLON|%c|%d|\n\r", c, c);
		break;
	case BAD_LEN:
		sprintf(errorMsg, "\n\rBAD_LEN\n\r");
		break;
	default:
		sprintf(errorMsg, "\n\rBAD_MSG (you should not see this)\n\r");
		break;
	}

	while (isTransmitting(&huart1, &huart2))
		;
	HAL_UART_Transmit_DMA(&huart1, (uint8_t*) errorMsg, errorMsgSize);
	HAL_UART_Transmit_DMA(&huart2, (uint8_t*) errorMsg, errorMsgSize);
	return;
}

/* USER CODE END 4 */

void _Error_Handler(char *file, int line) {
	/* USER CODE BEGIN Error_Handler_Debug */
	/* User can add his own implementation to report the HAL error return state */
	while (1) {
		if (HAL_GetTick() > (epoch_ERROR + D_ERROR)) {
			HAL_GPIO_TogglePin(LD3_GPIO_Port, LD3_Pin);
			epoch_ERROR = HAL_GetTick();
		}
	}
	/* USER CODE END Error_Handler_Debug */
}

/************************ (C) COPYRIGHT STMicroelectronics *****END OF FILE****/
